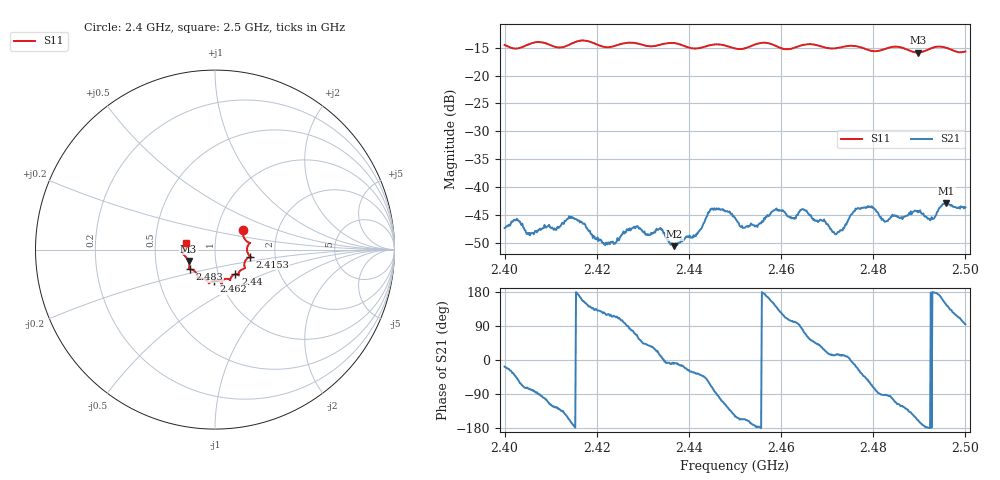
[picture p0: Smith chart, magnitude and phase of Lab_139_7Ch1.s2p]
# Hz S RI R 50
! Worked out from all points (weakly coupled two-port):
!   601 points, 2.4 GHz to 2.5 GHz, reference 50 ohm
!   highest |S21| = -42.97 dB at 2.4958 GHz (marker M1); lowest = -50.6 dB at 2.4368 GHz (marker M2)
!   lowest |S11| = -15.9 dB at 2.4897 GHz (marker M3), VSWR 1.38, Z = 36.9 - j4.82 ohm
!   |S11| at or under -10 dB: start of sweep to end of sweep
!   S12 and S22 are empty: the file has one direction only
!   S11 on the Smith chart (normalised r, x): 2.4 GHz: 1.33, +0.29; 2.4153 GHz: 1.48, -0.12; 2.44 GHz: 1.21, -0.34; 2.462 GHz: 0.93, -0.33; 2.483 GHz: 0.74, -0.17; 2.5 GHz: 0.72, +0.06
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2.4e9  0.1553 0.1066  0.00407 -0.00129  0 0  0 0
2.4025e9  0.1613 0.0667  0.00352 -0.0036  0 0  0 0
2.405833e9  0.191 0.0382  0.00072 -0.00377  0 0  0 0
2.415333e9  0.1961 -0.0385  -0.00516 -0.000146  0 0  0 0
2.416667e9  0.2018 -0.0426  -0.00455 0.0016  0 0  0 0
2.421833e9  0.1688 -0.0622  -0.00159 0.00254  0 0  0 0
2.433333e9  0.1311 -0.1336  0.00387 0.00141  0 0  0 0
2.436833e9  0.1324 -0.1439  0.00291 -0.000414  0 0  0 0
2.44e9  0.1141 -0.1369  0.00323 -0.0016  0 0  0 0
2.445e9  0.0844 -0.1686  0.00206 -0.00606  0 0  0 0
2.45e9  0.0644 -0.1628  -0.00455 -0.00271  0 0  0 0
2.451833e9  0.0455 -0.1681  -0.00393 -0.00171  0 0  0 0
2.462e9  -0.00513 -0.1734  -0.00125 0.00515  0 0  0 0
2.466667e9  -0.0343 -0.1877  0.00327 0.00411  0 0  0 0
2.471667e9  -0.066 -0.1622  0.00368 0.000825  0 0  0 0
2.476667e9  -0.0955 -0.155  0.00595 -0.00253  0 0  0 0
2.483e9  -0.1375 -0.1095  -0.000285 -0.00493  0 0  0 0
2.483333e9  -0.14 -0.1094  -0.000455 -0.0051  0 0  0 0
2.489667e9  -0.1474 -0.0636  -0.00549 -0.0022  0 0  0 0
2.492667e9  -0.1736 -0.0297  -0.00535 -0.000149  0 0  0 0
2.495833e9  -0.1768 -0.0158  -0.00589 0.00398  0 0  0 0
2.5e9  -0.1595 0.0393  -0.000446 0.00652  0 0  0 0
